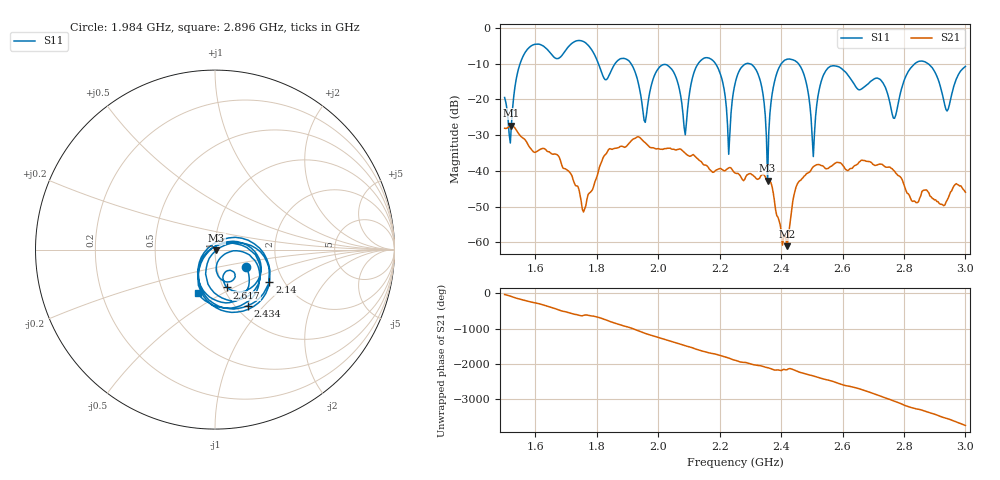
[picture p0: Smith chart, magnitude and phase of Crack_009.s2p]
# HZ S RI R 50
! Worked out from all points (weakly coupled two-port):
!   404 points, 1.5 GHz to 3 GHz, reference 50 ohm
!   highest |S21| = -27.31 dB at 1.522 GHz (marker M1); lowest = -61.0 dB at 2.419 GHz (marker M2)
!   lowest |S11| = -42.7 dB at 2.356 GHz (marker M3), VSWR 1.01, Z = 50.7 - j0.306 ohm
!   |S11| at or under -10 dB: 1.911 GHz to 2.13 GHz (218.8 MHz wide, 10.8 % of centre); 2.457 GHz to 2.836 GHz (379.1 MHz wide, 14.3 % of centre); 2.878 GHz to end of sweep (the widest 3 of 7)
!   S12 and S22 are empty: the file has one direction only
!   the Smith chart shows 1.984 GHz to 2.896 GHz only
!   S11 on the Smith chart (normalised r, x): 1.984 GHz: 1.38, -0.27; 2.14 GHz: 1.69, -0.70; 2.434 GHz: 1.14, -0.82; 2.617 GHz: 1.04, -0.46; 2.896 GHz: 0.74, -0.39
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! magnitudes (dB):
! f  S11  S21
! 1.5 GHz  -19.5  -28.1
! 1.522 GHz  -26.9  -27.3
! 1.574 GHz  -6.0  -32.4
! 1.753 GHz  -3.7  -50.8
! 1.958 GHz  -26.4  -32.1
! 1.984 GHz  -14.2  -33.6
! 2.002 GHz  -11.1  -33.8
! 2.088 GHz  -29.9  -35.1
! 2.14 GHz  -9.0  -37.4
! 2.23 GHz  -35.4  -39.1
! 2.252 GHz  -15.0  -40.6
! 2.315 GHz  -11.3  -41.7
! 2.356 GHz  -42.7  -42.5
! 2.419 GHz  -8.8  -61.0
! 2.434 GHz  -8.8  -50.8
! 2.501 GHz  -30.3  -39.2
! 2.546 GHz  -12.0  -39.4
! 2.617 GHz  -13.1  -39.9
! 2.751 GHz  -19.6  -39.0
! 2.896 GHz  -11.6  -47.8
! 2.94 GHz  -23.2  -48.1
! 3 GHz  -10.8  -45.9
